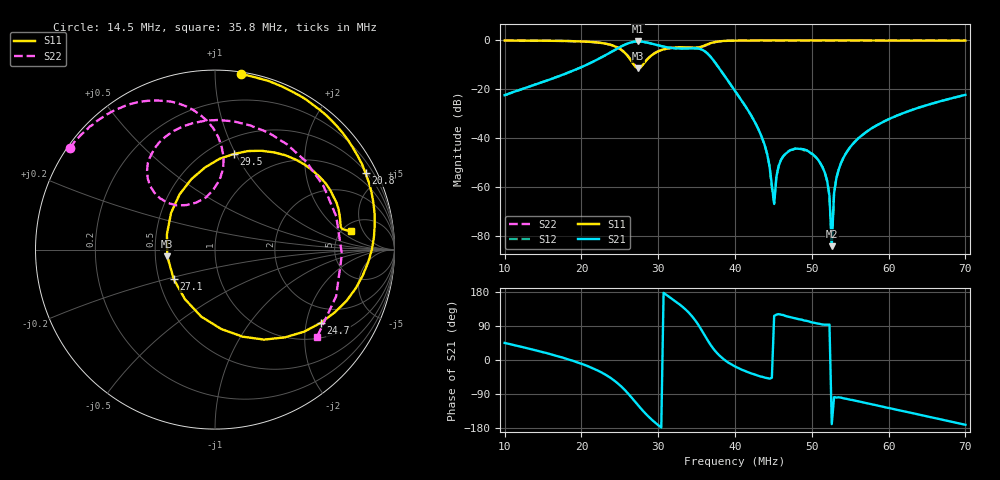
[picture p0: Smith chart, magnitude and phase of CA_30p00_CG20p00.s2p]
#  HZ  S  RI  R  50.00
! Rohde & Schwarz ZVT8 8Ports - Version 4.11 - 1300.0000k08 SN: 100242
! Date: 2026-07-31 14:37:47
! Measurements: S11 S21 S12 S22
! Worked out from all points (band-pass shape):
!   201 points, 10 MHz to 70 MHz, reference 50 ohm
!   highest |S21| = -0.41 dB at 27.4 MHz (marker M1); lowest = -84.0 dB at 52.6 MHz (marker M2)
!   |S21| within 3 dB of the highest: 24.61 MHz to 35.39 MHz (10.78 MHz wide, 35.9 % of centre)
!   lowest |S11| = -11.4 dB at 27.4 MHz (marker M3), VSWR 1.73, Z = 28.9 - j2.29 ohm
!   |S11| at or under -10 dB: 26.85 MHz to 27.98 MHz (1.129 MHz wide, 4.12 % of centre)
!   |S22| runs from -11.0 to 0.0 dB; largest |S21 - S12| = 0.0029
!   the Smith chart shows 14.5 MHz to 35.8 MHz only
!   S11 on the Smith chart (normalised r, x): 14.5 MHz: 0.02, +1.16; 20.8 MHz: 0.55, +4.11; 24.7 MHz: 1.45, -2.44; 27.1 MHz: 0.60, -0.21; 29.5 MHz: 0.65, +0.98; 35.8 MHz: 5.97, +2.92
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1e7  -0.4004 0.9123  0.0538 0.0541  0.0535 0.054  -0.9171 0.3879
1.45e7  0.1433 0.9768  0.1233 0.0527  0.1231 0.0525  -0.8096 0.5672
2.02e7  0.7944 0.5227  0.289 -0.0581  0.2881 -0.0577  -0.5392 0.7845
2.08e7  0.8388 0.4258  0.3126 -0.0895  0.3128 -0.0893  -0.4927 0.8047
2.47e7  0.5894 -0.408  0.3317 -0.6019  0.3334 -0.5996  -0.0446 0.7177
2.71e7  -0.23 -0.1647  -0.3651 -0.8756  -0.3651 -0.8755  -0.0489 0.2915
2.74e7  -0.2659 -0.0367  -0.4739 -0.8272  -0.4744 -0.8253  -0.1048 0.2619
2.95e7  0.1053 0.5327  -0.7978 -0.2361  -0.7971 -0.2353  -0.3751 0.3977
3.01e7  0.2589 0.5507  -0.7819 -0.0888  -0.7798 -0.0897  -0.3741 0.4832
3.37e7  0.6936 0.1962  -0.4471 0.5202  -0.4468 0.5196  0.2977 0.652
3.58e7  0.7559 0.1023  0.1774 0.6133  0.1771 0.6132  0.5686 -0.4872
4e7  0.8427 -0.5245  0.0898 -0.0275  0.0898 -0.0275  -0.9898 0.0561
4.39e7  0.4652 -0.8836  0.00483 -0.00512  0.00471 -0.0051  -0.8285 0.5542
4.51e7  0.3301 -0.9423  -0.000204 0.000411  -0.000239 0.000418  -0.769 0.6351
4.63e7  0.1896 -0.9797  -0.00209 0.00383  -0.00196 0.00391  -0.7106 0.6995
5.02e7  -0.262 -0.9635  -0.0007 0.00458  -0.000708 0.00458  -0.5292 0.8452
5.2e7  -0.4543 -0.89  -7.17e-05 0.00137  -8.86e-05 0.00133  -0.4482 0.8891
5.26e7  -0.5132 -0.8547  -6.2e-05 -1.18e-05  -5.04e-05 -4.9e-05  -0.4226 0.9031
5.29e7  -0.5432 -0.837  -0.000104 -0.000752  -0.000117 -0.000763  -0.4097 0.9081
5.41e7  -0.6521 -0.7568  -0.000752 -0.0039  -0.000718 -0.00389  -0.3579 0.9304
6.01e7  -0.9788 -0.1838  -0.0151 -0.0201  -0.015 -0.02  -0.1022 0.9915
7e7  -0.5876 0.8011  -0.0766 -0.0122  -0.0764 -0.0121  0.3052 0.9463
